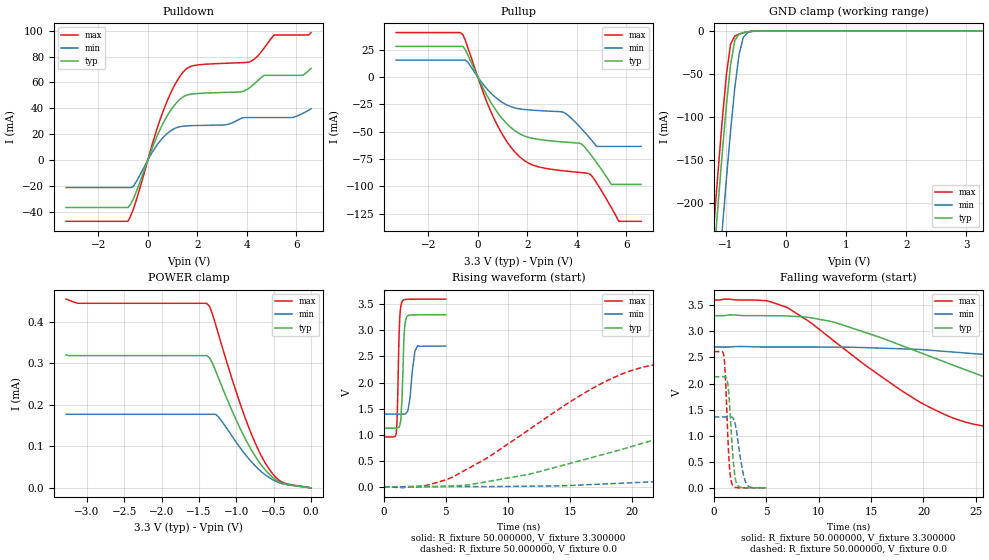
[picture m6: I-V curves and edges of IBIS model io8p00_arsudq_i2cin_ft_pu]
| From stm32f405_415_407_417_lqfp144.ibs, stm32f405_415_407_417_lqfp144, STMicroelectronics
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|   Model io8p00_arsudq_i2cin_ft_pu
[Model]  io8p00_arsudq_i2cin_ft_pu
Model_type I/O
Polarity   Non-Inverting
Enable   Active-Low
Vinl =   0.990000V
Vinh =   2.310000V
Vmeas =  1.650000V
Cref =   50.000000pF
Rref =   100.000000M
Vref =   0.0V
C_comp   2.280000pF   2.217000pF   2.355700pF
[Temperature Range]   25.000000   0.125000k   -40.000000
[Pullup Reference]   3.300000V   2.700000V   3.600000V
[Pulldown Reference]   0.0V   0.0V   0.0V
[POWER Clamp Reference]   3.300000V   2.700000V   3.600000V
[GND Clamp Reference]   0.0V   0.0V   0.0V
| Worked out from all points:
|   slope of the pulldown table from 0 to 0.495 V, typ, clamps not added: 20.9 ohm
|   slope of the pullup table from 0 to 0.495 V, typ, clamps not added: 22.6 ohm
|   GND clamp passes 1 mA (typ) near -0.62 V on its own axis
|   rising waveform, R_fixture 50.000000, V_fixture 3.300000: 20-80 % time 190ps typ, 341ps min, 164ps max; typ from 1.12 V to 3.3 V
|   rising waveform, R_fixture 50.000000, V_fixture 0.0: 20-80 % time 19.7ns typ, 51ns min, 10.4ns max; typ from 0.001 V to 2.13 V
|   falling waveform, R_fixture 50.000000, V_fixture 3.300000: 20-80 % time 18.7ns typ, 37.6ns min, 11.4ns max; typ from 3.3 V to 1.12 V
|   falling waveform, R_fixture 50.000000, V_fixture 0.0: 20-80 % time 433ps typ, 633ps min, 342ps max; typ from 2.13 V to 0.001 V
[Pulldown]
|Voltage   I(typ)   I(min)   I(max)
-3.3V     -36.46mA   -21.09mA   -47.09mA
-800mV    -36.46mA   -21.09mA   -47.09mA
-600mV    -30.5mA    -20.55mA   -38.69mA
700mV     31.4mA     19.11mA    41.71mA
1.2V      45.15mA    25.37mA    61.75mA
1.6V      50.35mA    26.5mA     71.06mA
3.1V      52.28mA    27.26mA    74.76mA
4.1V      55.64mA    32.87mA    75.8mA
4.7V      65.47mA    32.87mA    86.49mA
5.1V      65.47mA    32.87mA    96.56mA
6.2V      65.47mA    35.57mA    96.56mA
6.6V      70.92mA    39.71mA    98.46mA
[Pullup]
|Voltage   I(typ)   I(min)   I(max)
-3.3V     28.01mA    15.42mA    40.63mA
-700mV    28.01mA    15.42mA    40.63mA
-400mV    20.31mA    13.47mA    26.93mA
600mV     -25.77mA   -16.23mA   -35.13mA
1.6V      -50.64mA   -28.8mA    -70.96mA
3.5V      -59.52mA   -32.65mA   -85.91mA
4.2V      -61.43mA   -47.48mA   -87.45mA
4.5V      -69.07mA   -55.12mA   -88.37mA
4.8V      -78.21mA   -63.5mA    -96.83mA
5.4V      -98.3mA    -63.5mA    -119.6mA
5.7V      -98.3mA    -63.5mA    -132mA
6.6V      -98.3mA    -63.5mA    -132mA
[GND_clamp]
|Voltage   I(typ)   I(min)   I(max)
-3.3V     -2.32A     -2.398A    -2.293A
-1.2V     -265.5mA   -356.1mA   -227.2mA
-1.13V    -202.6mA   -292.9mA   -164.1mA
-1.06V    -142.2mA   -231.2mA   -104.1mA
-990mV    -85.98mA   -171.6mA   -50.72mA
-920mV    -38.8mA    -115.5mA   -15.28mA
-850mV    -11.08mA   -65.6mA    -6.001mA
-780mV    -3.782mA   -27.42mA   -3.876mA
-710mV    -2.086mA   -7.69mA    -2.381mA
-640mV    -1.147mA   -2.118mA   -1.22mA
-570mV    -523.9uA   -798.4uA   -476.8uA
3.28V     0A         0A         0A
[POWER_clamp]
|Voltage   I(typ)   I(min)   I(max)
-3.28V    319.9uA    177.1uA    454.3uA
-3.12V    318.3uA    177.1uA    444.3uA
-1.4V     318.3uA    177.1uA    444.3uA
-1.36V    313.4uA    177.1uA    437.2uA
-1.28V    282.3uA    177.1uA    394.1uA
-1.24V    264.6uA    170.9uA    369.7uA
-920mV    131.9uA    89.35uA    187.2uA
-760mV    79.47uA    55.13uA    112.7uA
-640mV    48.78uA    35.04uA    68.06uA
-520mV    26.21uA    20.11uA    35uA
-400mV    12.52uA    10.81uA    14.88uA
0V        0A         0A         0A
[Ramp]
| variable   typ   min   max
dV/dt_r  1.27723/19.71538n   0.81543/51.02379n   1.56688/10.34644n
dV/dt_f  1.30524/18.67597n   0.78396/37.71750n   1.58713/11.33655n
R_load = 50.000000
[Rising Waveform]
R_fixture= 50.000000
V_fixture= 3.300000
V_fixture_min= 2.700000
V_fixture_max= 3.600000
|time   V(typ)   V(min)   V(max)
0s        1.125V     1.393V     954.7mV
1.001ns   1.127V     1.393V     1.027V
1.071ns   1.129V     1.393V     1.309V
1.281ns   1.174V     1.393V     3.222V
1.451ns   1.629V     1.392V     3.542V
1.632ns   2.896V     1.395V     3.589V
1.852ns   3.258V     1.43V      3.596V
2.503ns   3.298V     2.601V     3.599V
2.713ns   3.299V     2.701V     3.599V
4.985ns   3.3V       2.7V       3.6V
[Rising Waveform]
R_fixture= 50.000000
V_fixture= 0.0
V_fixture_min= 0.0
V_fixture_max= 0.0
|time   V(typ)   V(min)   V(max)
0s        1.088mV    1.043mV    1.136mV
5.506ns   17.87mV    2.788mV    181.7mV
11.51ns   231.2mV    10.97mV    1.067V
19.52ns   741.9mV    73.07mV    2.196V
30.53ns   1.49V      220.5mV    2.532V
39.54ns   1.884V     380.3mV    2.581V
52.55ns   2.046V     618.4mV    2.603V
88.59ns   2.123V     1.136V     2.613V
116.6ns   2.129V     1.298V     2.613V
249.2ns   2.13V      1.36V      2.613V
[Falling Waveform]
R_fixture= 50.000000
V_fixture= 3.300000
V_fixture_min= 2.700000
V_fixture_max= 3.600000
|time   V(typ)   V(min)   V(max)
0s        3.3V       2.7V       3.6V
7.007ns   3.293V     2.7V       3.456V
11.51ns   3.174V     2.697V     2.807V
18.02ns   2.72V      2.664V     1.85V
22.52ns   2.375V     2.608V     1.363V
32.03ns   1.696V     2.419V     1.066V
47.05ns   1.271V     2.077V     992.4mV
67.57ns   1.171V     1.667V     964.9mV
85.09ns   1.147V     1.534V     959.3mV
249.2ns   1.125V     1.393V     954.7mV
[Falling Waveform]
R_fixture= 50.000000
V_fixture= 0.0
V_fixture_min= 0.0
V_fixture_max= 0.0
|time   V(typ)   V(min)   V(max)
0s        2.13V      1.36V      2.613V
981ps     2.131V     1.36V      2.506V
1.151ns   2.12V      1.359V     1.94V
1.411ns   1.865V     1.36V      679.8mV
1.542ns   1.481V     1.362V     293mV
1.732ns   855.6mV    1.355V     80.58mV
2.152ns   98.39mV    1.117V     6.19mV
2.823ns   3.622mV    253mV      1.349mV
3.123ns   1.866mV    72.52mV    1.239mV
4.985ns   1.088mV    1.043mV    1.136mV
